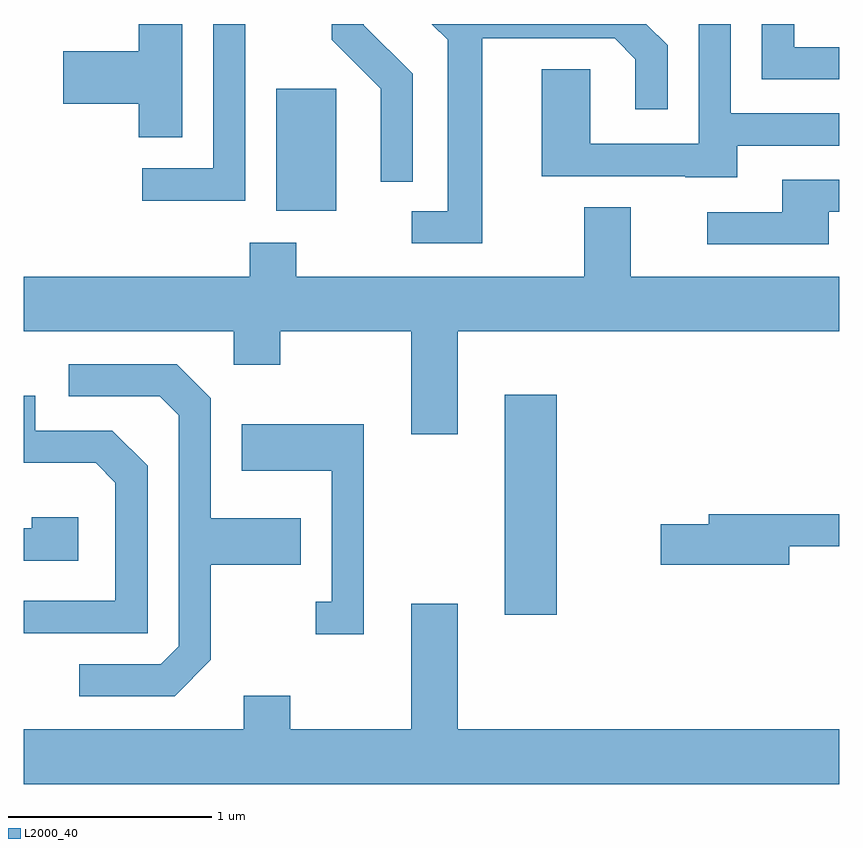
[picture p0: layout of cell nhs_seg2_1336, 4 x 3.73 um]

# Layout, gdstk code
import gdstk
lib = gdstk.Library(unit=1e-6, precision=1e-09)
def R(c, l, rs):  # rectangles x0, y0, x1, y1
    for r in rs: c.add(gdstk.rectangle(r[:2], r[2:], *l))
def P(c, l, *ps):  # polygons
    for p in ps: c.add(gdstk.Polygon(p, *l))
L2000_40 = (2000, 40)

nhs_seg2_1336 = lib.new_cell('nhs_seg2_1336')
R(nhs_seg2_1336, L2000_40, [(225.971,1066.906,226.224,1067.984), (224.851,1068.886,225.144,1069.484)])
P(nhs_seg2_1336, L2000_40, [(224.389,1069.802),(224.176,1069.802),(224.176,1069.669),(223.806,1069.669),(223.806,1069.411),(224.176,1069.411),(224.176,1069.246),(224.389,1069.246)],
  [(227.109,1069.206),(227.611,1069.206),(227.611,1069.364),(227.079,1069.364),(227.079,1069.802),(226.921,1069.802),(226.921,1069.214),(226.389,1069.214),(226.389,1069.579),(226.151,1069.579),(226.151,1069.056),(226.855,1069.056),(226.855,1069.051),(227.109,1069.051)],
  [(227.611,1069.689),(227.389,1069.689),(227.389,1069.802),(227.231,1069.802),(227.231,1069.531),(227.611,1069.531)],
  [(225.519,1069.557),(225.279,1069.797),(225.279,1069.802),(225.121,1069.802),(225.121,1069.724),(225.361,1069.484),(225.361,1069.028),(225.519,1069.028)],
  [(224.699,1069.802),(224.541,1069.802),(224.541,1069.094),(224.193,1069.094),(224.193,1068.936),(224.699,1068.936)],
  [(225.859,1069.731),(226.509,1069.731),(226.611,1069.629),(226.611,1069.383),(226.769,1069.383),(226.769,1069.697),(226.664,1069.802),(225.613,1069.802),(225.691,1069.724),(225.691,1068.884),(225.513,1068.884),(225.513,1068.726),(225.859,1068.726)],
  [(227.559,1068.881),(227.611,1068.881),(227.611,1069.039),(227.331,1069.039),(227.331,1068.879),(226.963,1068.879),(226.963,1068.721),(227.559,1068.721)],
  [(225.739,1068.296),(227.611,1068.296),(227.611,1068.564),(226.589,1068.564),(226.589,1068.904),(226.361,1068.904),(226.361,1068.564),(224.949,1068.564),(224.949,1068.729),(224.721,1068.729),(224.721,1068.564),(223.611,1068.564),(223.611,1068.296),(224.641,1068.296),(224.641,1068.131),(224.869,1068.131),(224.869,1068.296),(225.511,1068.296),(225.511,1067.791),(225.739,1067.791)],
  [(224.529,1066.684),(224.529,1067.151),(224.969,1067.151),(224.969,1067.379),(224.529,1067.379),(224.529,1067.967),(224.362,1068.134),(223.833,1068.134),(223.833,1067.976),(224.279,1067.976),(224.371,1067.884),(224.371,1066.752),(224.284,1066.664),(223.883,1066.664),(223.883,1066.506),(224.352,1066.506)],
  [(224.219,1067.637),(224.047,1067.809),(223.669,1067.809),(223.669,1067.979),(223.611,1067.979),(223.611,1067.651),(223.964,1067.651),(224.061,1067.554),(224.061,1066.974),(223.611,1066.974),(223.611,1066.816),(224.219,1066.816)],
  [(225.279,1067.839),(224.681,1067.839),(224.681,1067.611),(225.121,1067.611),(225.121,1066.969),(225.043,1066.969),(225.043,1066.811),(225.279,1066.811)],
  [(227.364,1067.241),(227.611,1067.241),(227.611,1067.399),(226.971,1067.399),(226.971,1067.349),(226.736,1067.349),(226.736,1067.151),(227.364,1067.151)],
  [(223.879,1067.384),(223.651,1067.384),(223.651,1067.329),(223.611,1067.329),(223.611,1067.171),(223.879,1067.171)],
  [(227.611,1066.344),(225.739,1066.344),(225.739,1066.959),(225.511,1066.959),(225.511,1066.344),(224.919,1066.344),(224.919,1066.509),(224.691,1066.509),(224.691,1066.344),(223.611,1066.344),(223.611,1066.076),(227.611,1066.076)])

lib.write_gds('nhs_seg2_1336.gds')
